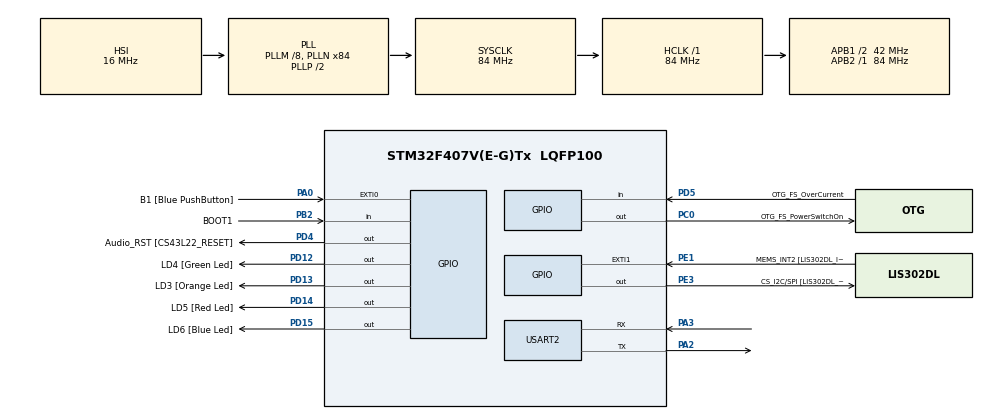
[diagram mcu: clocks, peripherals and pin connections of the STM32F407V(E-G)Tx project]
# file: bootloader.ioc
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Mcu.Family=STM32F4
PA11.GPIO_Speed=GPIO_SPEED_FREQ_LOW
PC3.GPIO_Mode=GPIO_MODE_AF_PP
PD12.GPIO_Label=LD4 [Green Led]
PH0-OSC_IN.Signal=RCC_OSC_IN
RCC.CortexFreq_Value=84000000
PC10.GPIO_PuPd=GPIO_NOPULL
PB10.GPIO_Speed=GPIO_SPEED_FREQ_LOW
PB6.GPIO_Mode=GPIO_MODE_AF_OD
PB10.GPIO_PuPd=GPIO_NOPULL
PA10.GPIO_PuPd=GPIO_NOPULL
PD15.GPIO_Speed=GPIO_SPEED_FREQ_LOW
PC10.Signal=I2S3_CK
PC12.Signal=I2S3_SD
PA14.GPIO_Label=SWCLK
PA7.GPIO_Mode=GPIO_MODE_AF_PP
PC0.GPIO_Label=OTG_FS_PowerSwitchOn
PA6.GPIO_Label=SPI1_MISO [LIS302DL_SDO]
PB6.GPIO_Label=Audio_SCL [CS43L22_SCL]
PC10.GPIO_Speed=GPIO_SPEED_FREQ_LOW
PA11.GPIO_PuPd=GPIO_NOPULL
PC15-OSC32_OUT.GPIO_Label=PC15-OSC32_OUT
PC3.GPIO_Speed=GPIO_SPEED_FREQ_LOW
RCC.SYSCLKSource=RCC_SYSCLKSOURCE_PLLCLK
ProjectManager.StackSize=0x400
PA6.GPIO_Mode=GPIO_MODE_AF_PP
PD13.Signal=GPIO_Output
PD14.GPIO_Speed=GPIO_SPEED_FREQ_LOW
PA12.Signal=USB_OTG_FS_DP
RCC.HCLKFreq_Value=84000000
PD4.Signal=GPIO_Output
RCC.APB2TimFreq_Value=84000000
PB6.Signal=I2C1_SCL
PC7.Signal=I2S3_MCK
PC3.Signal=I2S2_SD
PE1.Signal=GPXTI1
RCC.AHBFreq_Value=84000000
PH0-OSC_IN.GPIO_Label=PH0-OSC_IN
PA9.GPIO_Mode=GPIO_MODE_INPUT
RCC.HSE_VALUE=8000000
PA4.GPIO_PuPd=GPIO_NOPULL
PB2.Signal=GPIO_Input
PA4.GPIO_Speed=GPIO_SPEED_FREQ_LOW
PA6.GPIO_PuPd=GPIO_NOPULL
PA5.GPIO_PuPd=GPIO_NOPULL
PA10.GPIO_Label=OTG_FS_ID
PC7.GPIO_Mode=GPIO_MODE_AF_PP
PD5.GPIO_Mode=GPIO_MODE_INPUT
PD14.GPIO_PuPd=GPIO_NOPULL
PB2.GPIO_PuPd=GPIO_NOPULL
PD13.GPIO_Label=LD3 [Orange Led]
Mcu.Package=LQFP100
PB9.Signal=I2C1_SDA
PA6.Signal=SPI1_MISO
USART2.VirtualMode=VM_ASYNC
PD12.Signal=GPIO_Output
PD5.GPIO_Label=OTG_FS_OverCurrent
PD15.GPIO_PuPd=GPIO_NOPULL
PA10.Signal=USB_OTG_FS_ID
PB9.GPIO_PuPd=GPIO_NOPULL
PA10.GPIO_Speed=GPIO_SPEED_FREQ_LOW
PB9.GPIO_Speed=GPIO_SPEED_FREQ_LOW
RCC.APB1TimFreq_Value=84000000
PC14-OSC32_IN.GPIO_Label=PC14-OSC32_IN
PC12.GPIO_PuPd=GPIO_NOPULL
PA6.GPIO_Speed=GPIO_SPEED_FREQ_LOW
PC0.GPIO_PuPd=GPIO_NOPULL
PA12.GPIO_PuPd=GPIO_NOPULL
PA4.GPIO_Label=I2S3_WS [CS43L22_LRCK]
PD15.Signal=GPIO_Output
PC0.PinState=GPIO_PIN_SET
PA12.GPIO_Speed=GPIO_SPEED_FREQ_LOW
PA3.Signal=USART2_RX
PB3.GPIO_Label=SWO
PD12.GPIO_Speed=GPIO_SPEED_FREQ_LOW
PD15.GPIO_Label=LD6 [Blue Led]
PB9.GPIO_Label=Audio_SDA [CS43L22_SDA]
PC10.GPIO_Label=I2S3_SCK [CS43L22_SCLK]
PA9.GPIO_Label=VBUS_FS
PB6.GPIO_PuPd=GPIO_NOPULL
PA11.GPIO_Label=OTG_FS_DM
PE1.GPIO_PuPd=GPIO_NOPULL
PD5.Signal=GPIO_Input
PC0.Signal=GPIO_Output
PE1.GPIO_ModeDefaultEXTI=GPIO_MODE_EVT_RISING
RCC.APB1CLKDivider=RCC_HCLK_DIV2
PC14-OSC32_IN.Signal=RCC_OSC32_IN
PA9.GPIO_PuPd=GPIO_NOPULL
PA12.GPIO_Label=OTG_FS_DP
PA0-WKUP.GPIO_Label=B1 [Blue PushButton]
PA0-WKUP.Signal=GPXTI0
PA10.GPIO_Mode=GPIO_MODE_AF_PP
PA3.Mode=Asynchronous
PA13.Signal=SYS_JTMS-SWDIO
PC10.GPIO_Mode=GPIO_MODE_AF_PP
PD4.GPIO_PuPd=GPIO_NOPULL
PC0.GPIO_Speed=GPIO_SPEED_FREQ_LOW
PB10.GPIO_Mode=GPIO_MODE_AF_PP
ProjectManager.TargetToolchain=STM32CubeIDE
PB10.GPIO_Label=CLK_IN [MP45DT02_CLK]
PA9.Signal=USB_OTG_FS_VBUS
PC7.GPIO_PuPd=GPIO_NOPULL
RCC.LSE_VALUE=32768
PC15-OSC32_OUT.Signal=RCC_OSC32_OUT
PA7.GPIO_PuPd=GPIO_NOPULL
PB10.Signal=I2S2_CK
PA5.Signal=SPI1_SCK
board=STM32F407G-DISC1
PD13.GPIO_Speed=GPIO_SPEED_FREQ_LOW
PC7.GPIO_Speed=GPIO_SPEED_FREQ_LOW
RCC.VCOOutputFreq_Value=168000000
PE1.GPIO_Label=MEMS_INT2 [LIS302DL_INT2]
PA7.GPIO_Speed=GPIO_SPEED_FREQ_LOW
PB9.GPIO_Mode=GPIO_MODE_AF_OD
PA12.GPIO_Mode=GPIO_MODE_AF_PP
PA4.GPIO_Mode=GPIO_MODE_AF_PP
RCC.APB2Freq_Value=84000000
PB2.GPIO_Mode=GPIO_MODE_INPUT
PD4.GPIO_Label=Audio_RST [CS43L22_RESET]
PD4.GPIO_Speed=GPIO_SPEED_FREQ_LOW
PE3.GPIO_PuPd=GPIO_NOPULL
PH1-OSC_OUT.Signal=RCC_OSC_OUT
PD13.GPIO_PuPd=GPIO_NOPULL
PD5.GPIO_PuPd=GPIO_NOPULL
PD14.GPIO_Label=LD5 [Red Led]
PH1-OSC_OUT.GPIO_Label=PH1-OSC_OUT
Mcu.Name=STM32F407V(E-G)Tx
PA2.Signal=USART2_TX
PA13.GPIO_Label=SWDIO
PC7.GPIO_Label=I2S3_MCK [CS43L22_MCLK]
PD14.Signal=GPIO_Output
RCC.48MHZClocksFreq_Value=24000000
PB3.Signal=SYS_JTDO-SWO
PA4.Signal=I2S3_WS
RCC.SYSCLKFreq_VALUE=84000000
PC12.GPIO_Mode=GPIO_MODE_AF_PP
PA7.GPIO_Label=SPI1_MOSI [LIS302DL_SDA/SDI/SDO]
PA5.GPIO_Label=SPI1_SCK [LIS302DL_SCL/SPC]
PE3.GPIO_Speed=GPIO_SPEED_FREQ_LOW
PC12.GPIO_Label=I2S3_SD [CS43L22_SDIN]
PA11.Signal=USB_OTG_FS_DM
PA14.Signal=SYS_JTCK-SWCLK
PB2.GPIO_Label=BOOT1
ProjectManager.HeapSize=0x200
RCC.HSI_VALUE=16000000
PA5.GPIO_Speed=GPIO_SPEED_FREQ_LOW
RCC.PLLQ=7
NVIC.PriorityGroup=NVIC_PRIORITYGROUP_0
RCC.PLLM=8
RCC.PLLN=84
PE3.Signal=GPIO_Output
PA2.Mode=Asynchronous
PE3.GPIO_Label=CS_I2C/SPI [LIS302DL_CS_I2C/SPI]
PC3.GPIO_Label=PDM_OUT [MP45DT02_DOUT]
PA11.GPIO_Mode=GPIO_MODE_AF_PP
PB6.GPIO_Speed=GPIO_SPEED_FREQ_LOW
RCC.APB1Freq_Value=42000000
PA5.GPIO_Mode=GPIO_MODE_AF_PP
PC12.GPIO_Speed=GPIO_SPEED_FREQ_LOW
VP_CRC_VS_CRC.Mode=CRC_Activate
PC3.GPIO_PuPd=GPIO_NOPULL
PD12.GPIO_PuPd=GPIO_NOPULL
PA7.Signal=SPI1_MOSI

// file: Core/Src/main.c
/* USER CODE BEGIN Header */
/**
  ******************************************************************************
  * @file           : main.c
  * @brief          : Main program body
  ******************************************************************************
  * @attention
  *
  * <h2><center>&copy; Copyright (c) 2021 STMicroelectronics.
  * All rights reserved.</center></h2>
  *
  * This software component is licensed by ST under BSD 3-Clause license,
  * the "License"; You may not use this file except in compliance with the
  * License. You may obtain a copy of the License at:
  *                        opensource.org/licenses/BSD-3-Clause
  *
  ******************************************************************************
  */
/* USER CODE END Header */
#include "main.h"

/* USER CODE BEGIN PD */
#define BL_RX_LEN 200
/* USER CODE END PD */

CRC_HandleTypeDef hcrc;

UART_HandleTypeDef huart2;

/* USER CODE BEGIN PV */
uint8_t bl_rx_buffer[BL_RX_LEN];

uint8_t supported_commands[] = {
                               BL_GET_VER ,
                               BL_GET_HELP,
                               BL_GET_CID,
                               BL_GET_RDP_STATUS,
                               BL_GO_TO_ADDR,
                               BL_FLASH_ERASE,
                               BL_MEM_WRITE,
                               BL_READ_SECTOR_P_STATUS} ;

/* USER CODE END PV */

void SystemClock_Config(void);
static void MX_GPIO_Init(void);
static void MX_CRC_Init(void);
static void MX_USART2_UART_Init(void);
/* USER CODE BEGIN PFP */
void bootloader_uart_read_data(void);
void bootloader_jump_to_user_app(void);

/* USER CODE END PFP */

int main(void)
{

  /* MCU Configuration--------------------------------------------------------*/

  /* Reset of all peripherals, Initializes the Flash interface and the Systick. */
  HAL_Init();

  /* Configure the system clock */
  SystemClock_Config();

  /* Initialize all configured peripherals */
  MX_GPIO_Init();
  MX_CRC_Init();
  MX_USART2_UART_Init();
  /* USER CODE BEGIN 2 */

  /* Check if the user button is pressed */
 if(HAL_GPIO_ReadPin(GPIOA, GPIO_PIN_0) == GPIO_PIN_SET){
	/* Button is pressed */
    bootloader_uart_read_data();
  }
  else{
    bootloader_jump_to_user_app();
  }

  /* USER CODE END 2 */

  /* Infinite loop */
  while (1)
  {

  }
}

void SystemClock_Config(void)
{
  RCC_OscInitTypeDef RCC_OscInitStruct = {0};
  RCC_ClkInitTypeDef RCC_ClkInitStruct = {0};

  /** Configure the main internal regulator output voltage
  */
  __HAL_RCC_PWR_CLK_ENABLE();
  __HAL_PWR_VOLTAGESCALING_CONFIG(PWR_REGULATOR_VOLTAGE_SCALE1);
  /** Initializes the RCC Oscillators according to the specified parameters
  * in the RCC_OscInitTypeDef structure.
  */
  RCC_OscInitStruct.OscillatorType = RCC_OSCILLATORTYPE_HSI;
  RCC_OscInitStruct.HSIState = RCC_HSI_ON;
  RCC_OscInitStruct.HSICalibrationValue = RCC_HSICALIBRATION_DEFAULT;
  RCC_OscInitStruct.PLL.PLLState = RCC_PLL_ON;
  RCC_OscInitStruct.PLL.PLLSource = RCC_PLLSOURCE_HSI;
  RCC_OscInitStruct.PLL.PLLM = 8;
  RCC_OscInitStruct.PLL.PLLN = 84;
  RCC_OscInitStruct.PLL.PLLP = RCC_PLLP_DIV2;
  RCC_OscInitStruct.PLL.PLLQ = 7;
  if (HAL_RCC_OscConfig(&RCC_OscInitStruct) != HAL_OK)
  {
    Error_Handler();
  }
  /** Initializes the CPU, AHB and APB buses clocks
  */
  RCC_ClkInitStruct.ClockType = RCC_CLOCKTYPE_HCLK|RCC_CLOCKTYPE_SYSCLK
                              |RCC_CLOCKTYPE_PCLK1|RCC_CLOCKTYPE_PCLK2;
  RCC_ClkInitStruct.SYSCLKSource = RCC_SYSCLKSOURCE_PLLCLK;
  RCC_ClkInitStruct.AHBCLKDivider = RCC_SYSCLK_DIV1;
  RCC_ClkInitStruct.APB1CLKDivider = RCC_HCLK_DIV2;
  RCC_ClkInitStruct.APB2CLKDivider = RCC_HCLK_DIV1;

  if (HAL_RCC_ClockConfig(&RCC_ClkInitStruct, FLASH_LATENCY_2) != HAL_OK)
  {
    Error_Handler();
  }
}

static void MX_CRC_Init(void)
{

  hcrc.Instance = CRC;
  if (HAL_CRC_Init(&hcrc) != HAL_OK)
  {
    Error_Handler();
  }

}

static void MX_USART2_UART_Init(void)
{

  huart2.Instance = USART2;
  huart2.Init.BaudRate = 115200;
  huart2.Init.WordLength = UART_WORDLENGTH_8B;
  huart2.Init.StopBits = UART_STOPBITS_1;
  huart2.Init.Parity = UART_PARITY_NONE;
  huart2.Init.Mode = UART_MODE_TX_RX;
  huart2.Init.HwFlowCtl = UART_HWCONTROL_NONE;
  huart2.Init.OverSampling = UART_OVERSAMPLING_16;
  if (HAL_UART_Init(&huart2) != HAL_OK)
  {
    Error_Handler();
  }

}

static void MX_GPIO_Init(void)
{
  GPIO_InitTypeDef GPIO_InitStruct = {0};

  /* GPIO Ports Clock Enable */
  __HAL_RCC_GPIOE_CLK_ENABLE();
  __HAL_RCC_GPIOC_CLK_ENABLE();
  __HAL_RCC_GPIOH_CLK_ENABLE();
  __HAL_RCC_GPIOA_CLK_ENABLE();
  __HAL_RCC_GPIOB_CLK_ENABLE();
  __HAL_RCC_GPIOD_CLK_ENABLE();

  /*Configure GPIO pin Output Level */
  HAL_GPIO_WritePin(CS_I2C_SPI_GPIO_Port, CS_I2C_SPI_Pin, GPIO_PIN_RESET);

  /*Configure GPIO pin Output Level */
  HAL_GPIO_WritePin(OTG_FS_PowerSwitchOn_GPIO_Port, OTG_FS_PowerSwitchOn_Pin, GPIO_PIN_SET);

  /*Configure GPIO pin Output Level */
  HAL_GPIO_WritePin(GPIOD, LD4_Pin|LD3_Pin|LD5_Pin|LD6_Pin
                          |Audio_RST_Pin, GPIO_PIN_RESET);

  /*Configure GPIO pin : CS_I2C_SPI_Pin */
  GPIO_InitStruct.Pin = CS_I2C_SPI_Pin;
  GPIO_InitStruct.Mode = GPIO_MODE_OUTPUT_PP;
  GPIO_InitStruct.Pull = GPIO_NOPULL;
  GPIO_InitStruct.Speed = GPIO_SPEED_FREQ_LOW;
  HAL_GPIO_Init(CS_I2C_SPI_GPIO_Port, &GPIO_InitStruct);

  /*Configure GPIO pin : OTG_FS_PowerSwitchOn_Pin */
  GPIO_InitStruct.Pin = OTG_FS_PowerSwitchOn_Pin;
  GPIO_InitStruct.Mode = GPIO_MODE_OUTPUT_PP;
  GPIO_InitStruct.Pull = GPIO_NOPULL;
  GPIO_InitStruct.Speed = GPIO_SPEED_FREQ_LOW;
  HAL_GPIO_Init(OTG_FS_PowerSwitchOn_GPIO_Port, &GPIO_InitStruct);

  /*Configure GPIO pin : PDM_OUT_Pin */
  GPIO_InitStruct.Pin = PDM_OUT_Pin;
  GPIO_InitStruct.Mode = GPIO_MODE_AF_PP;
  GPIO_InitStruct.Pull = GPIO_NOPULL;
  GPIO_InitStruct.Speed = GPIO_SPEED_FREQ_LOW;
  GPIO_InitStruct.Alternate = GPIO_AF5_SPI2;
  HAL_GPIO_Init(PDM_OUT_GPIO_Port, &GPIO_InitStruct);

  /*Configure GPIO pin : B1_Pin */
  GPIO_InitStruct.Pin = B1_Pin;
  GPIO_InitStruct.Mode = GPIO_MODE_IT_RISING;
  GPIO_InitStruct.Pull = GPIO_NOPULL;
  HAL_GPIO_Init(B1_GPIO_Port, &GPIO_InitStruct);

  /*Configure GPIO pin : I2S3_WS_Pin */
  GPIO_InitStruct.Pin = I2S3_WS_Pin;
  GPIO_InitStruct.Mode = GPIO_MODE_AF_PP;
  GPIO_InitStruct.Pull = GPIO_NOPULL;
  GPIO_InitStruct.Speed = GPIO_SPEED_FREQ_LOW;
  GPIO_InitStruct.Alternate = GPIO_AF6_SPI3;
  HAL_GPIO_Init(I2S3_WS_GPIO_Port, &GPIO_InitStruct);

  /*Configure GPIO pins : SPI1_SCK_Pin SPI1_MISO_Pin SPI1_MOSI_Pin */
  GPIO_InitStruct.Pin = SPI1_SCK_Pin|SPI1_MISO_Pin|SPI1_MOSI_Pin;
  GPIO_InitStruct.Mode = GPIO_MODE_AF_PP;
  GPIO_InitStruct.Pull = GPIO_NOPULL;
  GPIO_InitStruct.Speed = GPIO_SPEED_FREQ_LOW;
  GPIO_InitStruct.Alternate = GPIO_AF5_SPI1;
  HAL_GPIO_Init(GPIOA, &GPIO_InitStruct);

  /*Configure GPIO pin : BOOT1_Pin */
  GPIO_InitStruct.Pin = BOOT1_Pin;
  GPIO_InitStruct.Mode = GPIO_MODE_INPUT;
  GPIO_InitStruct.Pull = GPIO_NOPULL;
  HAL_GPIO_Init(BOOT1_GPIO_Port, &GPIO_InitStruct);

  /*Configure GPIO pin : CLK_IN_Pin */
  GPIO_InitStruct.Pin = CLK_IN_Pin;
  GPIO_InitStruct.Mode = GPIO_MODE_AF_PP;
  GPIO_InitStruct.Pull = GPIO_NOPULL;
  GPIO_InitStruct.Speed = GPIO_SPEED_FREQ_LOW;
  GPIO_InitStruct.Alternate = GPIO_AF5_SPI2;
  HAL_GPIO_Init(CLK_IN_GPIO_Port, &GPIO_InitStruct);

  /*Configure GPIO pins : LD4_Pin LD3_Pin LD5_Pin LD6_Pin
                           Audio_RST_Pin */
  GPIO_InitStruct.Pin = LD4_Pin|LD3_Pin|LD5_Pin|LD6_Pin
                          |Audio_RST_Pin;
  GPIO_InitStruct.Mode = GPIO_MODE_OUTPUT_PP;
  GPIO_InitStruct.Pull = GPIO_NOPULL;
  GPIO_InitStruct.Speed = GPIO_SPEED_FREQ_LOW;
  HAL_GPIO_Init(GPIOD, &GPIO_InitStruct);

  /*Configure GPIO pins : I2S3_MCK_Pin I2S3_SCK_Pin I2S3_SD_Pin */
  GPIO_InitStruct.Pin = I2S3_MCK_Pin|I2S3_SCK_Pin|I2S3_SD_Pin;
  GPIO_InitStruct.Mode = GPIO_MODE_AF_PP;
  GPIO_InitStruct.Pull = GPIO_NOPULL;
  GPIO_InitStruct.Speed = GPIO_SPEED_FREQ_LOW;
  GPIO_InitStruct.Alternate = GPIO_AF6_SPI3;
  HAL_GPIO_Init(GPIOC, &GPIO_InitStruct);

  /*Configure GPIO pin : VBUS_FS_Pin */
  GPIO_InitStruct.Pin = VBUS_FS_Pin;
  GPIO_InitStruct.Mode = GPIO_MODE_INPUT;
  GPIO_InitStruct.Pull = GPIO_NOPULL;
  HAL_GPIO_Init(VBUS_FS_GPIO_Port, &GPIO_InitStruct);

  /*Configure GPIO pins : OTG_FS_ID_Pin OTG_FS_DM_Pin OTG_FS_DP_Pin */
  GPIO_InitStruct.Pin = OTG_FS_ID_Pin|OTG_FS_DM_Pin|OTG_FS_DP_Pin;
  GPIO_InitStruct.Mode = GPIO_MODE_AF_PP;
  GPIO_InitStruct.Pull = GPIO_NOPULL;
  GPIO_InitStruct.Speed = GPIO_SPEED_FREQ_LOW;
  GPIO_InitStruct.Alternate = GPIO_AF10_OTG_FS;
  HAL_GPIO_Init(GPIOA, &GPIO_InitStruct);

  /*Configure GPIO pin : OTG_FS_OverCurrent_Pin */
  GPIO_InitStruct.Pin = OTG_FS_OverCurrent_Pin;
  GPIO_InitStruct.Mode = GPIO_MODE_INPUT;
  GPIO_InitStruct.Pull = GPIO_NOPULL;
  HAL_GPIO_Init(OTG_FS_OverCurrent_GPIO_Port, &GPIO_InitStruct);

  /*Configure GPIO pins : Audio_SCL_Pin Audio_SDA_Pin */
  GPIO_InitStruct.Pin = Audio_SCL_Pin|Audio_SDA_Pin;
  GPIO_InitStruct.Mode = GPIO_MODE_AF_OD;
  GPIO_InitStruct.Pull = GPIO_PULLUP;
  GPIO_InitStruct.Speed = GPIO_SPEED_FREQ_LOW;
  GPIO_InitStruct.Alternate = GPIO_AF4_I2C1;
  HAL_GPIO_Init(GPIOB, &GPIO_InitStruct);

  /*Configure GPIO pin : MEMS_INT2_Pin */
  GPIO_InitStruct.Pin = MEMS_INT2_Pin;
  GPIO_InitStruct.Mode = GPIO_MODE_EVT_RISING;
  GPIO_InitStruct.Pull = GPIO_NOPULL;
  HAL_GPIO_Init(MEMS_INT2_GPIO_Port, &GPIO_InitStruct);

}

/* USER CODE BEGIN 4 */

void bootloader_uart_read_data(void){

	uint8_t rcv_len = 0;

	while(1){
		memset(bl_rx_buffer, 0, 200);
		/*
		 * Here we will read and decode the commands coming from host
		 * first read only one byte from the host, which is the "length" field of the command packet
		 */
		HAL_UART_Receive(&huart2, bl_rx_buffer, 1, HAL_MAX_DELAY);
		rcv_len = bl_rx_buffer[0];
		HAL_UART_Receive(&huart2, &bl_rx_buffer[1], rcv_len, HAL_MAX_DELAY);

		switch (bl_rx_buffer[1]){
			case BL_GET_VER:
				bootloader_handle_getver_cmd(bl_rx_buffer);
				break;
			case BL_GET_HELP:
				bootloader_handle_gethelp_cmd(bl_rx_buffer);
				break;
			case BL_GET_CID:
				bootloader_handle_getcid_cmd(bl_rx_buffer);
				break;
			case BL_GET_RDP_STATUS:
				bootloader_handle_getrdp_cmd(bl_rx_buffer);
				break;
			case BL_GO_TO_ADDR:
				bootloader_handle_go_cmd(bl_rx_buffer);
				break;
			case BL_FLASH_ERASE:
				bootloader_handle_flash_erase_cmd(bl_rx_buffer);
				break;
			case BL_MEM_WRITE:
				bootloader_handle_mem_write_cmd(bl_rx_buffer);
				break;
			case BL_EN_RW_PROTECT:
				bootloader_handle_en_rw_protect(bl_rx_buffer);
				break;
			case BL_MEM_READ:
				bootloader_handle_mem_read(bl_rx_buffer);
				break;
			case BL_READ_SECTOR_P_STATUS:
				bootloader_handle_read_sector_protection_status(bl_rx_buffer);
				break;
			case BL_OTP_READ:
				bootloader_handle_read_otp(bl_rx_buffer);
				break;
			case BL_DIS_R_W_PROTECT:
				bootloader_handle_dis_rw_protect(bl_rx_buffer);
				break;
			default:
				break;
		}
	}

}

void bootloader_jump_to_user_app(void){

	// Just a function pointer to hold the address of the reset handler of the user app.
	void (*app_reset_handler) (void);

	// 1. Configure the MSP by reading the value from the base address of the sector 2
	uint32_t msp_value = *(volatile uint32_t *)FLASH_SECTOR2_BASE_ADDRESS;

	// This function comes from CMSIS
	__set_MSP(msp_value);

	// SCB->VTOR = FLASH_SECTOR1_BASE_ADDRESS;
	/* 2. Now fetch the reset handler address of the user application
	 * from the location FLASH_SECTOR2_BASE_ADDRESS+4
	 */
	uint32_t resethandler_address = *(volatile uint32_t *) (FLASH_SECTOR2_BASE_ADDRESS + 4);
	app_reset_handler = (void *)resethandler_address;

	// 3. Jump to reset handler of the application
	app_reset_handler();

}

/**************Implementation of Boot-loader Command Handle functions *********/

/*Helper function to handle BL_GET_VER command */
void bootloader_handle_getver_cmd(uint8_t *bl_rx_buffer){
    uint8_t bl_version;

    // 1) verify the checksum

	 //Total length of the command packet
	  uint32_t command_packet_len = bl_rx_buffer[0]+1 ;

	  //extract the CRC32 sent by the Host
	  uint32_t host_crc = *((uint32_t * ) (bl_rx_buffer+command_packet_len - 4) ) ;

    if (! bootloader_verify_crc(&bl_rx_buffer[0],command_packet_len-4,host_crc))
    {
        // checksum is correct..
        bootloader_send_ack(bl_rx_buffer[0],1);
        bl_version=get_bootloader_version();
        bootloader_uart_write_data(&bl_version,1);

    }else
    {
        //checksum is wrong send nack
        bootloader_send_nack();
    }
}

/*Helper function to handle BL_GET_HELP command
 * Bootloader sends out All supported Command codes
 */
void bootloader_handle_gethelp_cmd(uint8_t *pBuffer)
{

	//Total length of the command packet
	uint32_t command_packet_len = bl_rx_buffer[0]+1 ;

	//extract the CRC32 sent by the Host
	uint32_t host_crc = *((uint32_t * ) (bl_rx_buffer+command_packet_len - 4) ) ;

	if (! bootloader_verify_crc(&bl_rx_buffer[0],command_packet_len-4,host_crc))
	{
        bootloader_send_ack(pBuffer[0],sizeof(supported_commands));
        bootloader_uart_write_data(supported_commands,sizeof(supported_commands) );

	}else
	{
        bootloader_send_nack();
	}

}

/*Helper function to handle BL_GET_CID command */
void bootloader_handle_getcid_cmd(uint8_t *pBuffer)
{
	uint16_t bl_cid_num = 0;

    //Total length of the command packet
	uint32_t command_packet_len = bl_rx_buffer[0]+1 ;

	//extract the CRC32 sent by the Host
	uint32_t host_crc = *((uint32_t * ) (bl_rx_buffer+command_packet_len - 4) ) ;

	if (! bootloader_verify_crc(&bl_rx_buffer[0],command_packet_len-4,host_crc))
	{
        bootloader_send_ack(pBuffer[0],2);
        bl_cid_num = get_mcu_chip_id();
        bootloader_uart_write_data((uint8_t *)&bl_cid_num,2);

	}else
	{
        bootloader_send_nack();
	}

}

/*Helper function to handle BL_GET_RDP_STATUS command */
void bootloader_handle_getrdp_cmd(uint8_t *pBuffer)
{
    uint8_t rdp_level = 0x00;

    //Total length of the command packet
	uint32_t command_packet_len = bl_rx_buffer[0]+1 ;

	//extract the CRC32 sent by the Host
	uint32_t host_crc = *((uint32_t * ) (bl_rx_buffer+command_packet_len - 4) ) ;

	if (! bootloader_verify_crc(&bl_rx_buffer[0],command_packet_len-4,host_crc))
	{
        bootloader_send_ack(pBuffer[0],1);
        rdp_level = get_flash_rdp_level();
        bootloader_uart_write_data(&rdp_level,1);

	}else
	{
        bootloader_send_nack();
	}

}

/*Helper function to handle BL_GO_TO_ADDR command */
void bootloader_handle_go_cmd(uint8_t *pBuffer)
{
    uint32_t go_address=0;
    uint8_t addr_valid = ADDR_VALID;
    uint8_t addr_invalid = ADDR_INVALID;

    //Total length of the command packet
	uint32_t command_packet_len = bl_rx_buffer[0]+1 ;

	//extract the CRC32 sent by the Host
	uint32_t host_crc = *((uint32_t * ) (bl_rx_buffer+command_packet_len - 4) ) ;

	if (! bootloader_verify_crc(&bl_rx_buffer[0],command_packet_len-4,host_crc))
	{

        bootloader_send_ack(pBuffer[0],1);

        //extract the go address
        go_address = *((uint32_t *)&pBuffer[2] );

        if( verify_address(go_address) == ADDR_VALID )
        {
            //tell host that address is fine
            bootloader_uart_write_data(&addr_valid,1);

            /*jump to "go" address.
            we dont care what is being done there.
            host must ensure that valid code is present over there
            Its not the duty of bootloader. so just trust and jump */

            /* Not doing the below line will result in hardfault exception for ARM cortex M */
            //watch : https://www.youtube.com/watch?v=VX_12SjnNhY

            go_address+=1; //make T bit =1

            void (*lets_jump)(void) = (void *)go_address;

            lets_jump();

		}else
		{
            //tell host that address is invalid
            bootloader_uart_write_data(&addr_invalid,1);
		}

	}else
	{
        bootloader_send_nack();
	}

}

/*Helper function to handle BL_FLASH_ERASE command */
void bootloader_handle_flash_erase_cmd(uint8_t *pBuffer)
{
    uint8_t erase_status = 0x00;

    //Total length of the command packet
	uint32_t command_packet_len = bl_rx_buffer[0]+1 ;

	//extract the CRC32 sent by the Host
	uint32_t host_crc = *((uint32_t * ) (bl_rx_buffer+command_packet_len - 4) ) ;

	if (! bootloader_verify_crc(&bl_rx_buffer[0],command_packet_len-4,host_crc))
	{
        bootloader_send_ack(pBuffer[0],1);

        erase_status = execute_flash_erase(pBuffer[2] , pBuffer[3]);

        bootloader_uart_write_data(&erase_status,1);

	}else
	{
        bootloader_send_nack();
	}
}

/*Helper function to handle BL_MEM_WRITE command */
void bootloader_handle_mem_write_cmd(uint8_t *pBuffer)
{
	uint8_t write_status = 0x00;
	uint8_t payload_len = pBuffer[6];

	uint32_t mem_address = *((uint32_t *) ( &pBuffer[2]) );

    //Total length of the command packet
	uint32_t command_packet_len = bl_rx_buffer[0]+1 ;

	//extract the CRC32 sent by the Host
	uint32_t host_crc = *((uint32_t * ) (bl_rx_buffer+command_packet_len - 4) ) ;

	if (! bootloader_verify_crc(&bl_rx_buffer[0],command_packet_len-4,host_crc))
	{

        bootloader_send_ack(pBuffer[0],1);

		if( verify_address(mem_address) == ADDR_VALID )
		{

            //execute mem write
            write_status = execute_mem_write(&pBuffer[7],mem_address, payload_len);

            //inform host about the status
            bootloader_uart_write_data(&write_status,1);

		}else
		{
            write_status = ADDR_INVALID;
            //inform host that address is invalid
            bootloader_uart_write_data(&write_status,1);
		}

	}else
	{
        bootloader_send_nack();
	}

}

void bootloader_handle_en_rw_protect(uint8_t *pBuffer){

}

void bootloader_handle_mem_read (uint8_t *pBuffer){

}

void bootloader_handle_read_sector_protection_status(uint8_t *pBuffer){

}

void bootloader_handle_read_otp(uint8_t *pBuffer){

}

void bootloader_handle_dis_rw_protect(uint8_t *pBuffer){

}

/*This function sends ACK if CRC matches along with "len to follow"*/
void bootloader_send_ack(uint8_t command_code, uint8_t follow_len)
{
	 //here we send 2 byte.. first byte is ack and the second byte is len value
	uint8_t ack_buf[2];
	ack_buf[0] = BL_ACK;
	ack_buf[1] = follow_len;
	HAL_UART_Transmit(&huart2, ack_buf,2,HAL_MAX_DELAY);

}

/*This function sends NACK */
void bootloader_send_nack(void)
{
	uint8_t nack = BL_NACK;
	HAL_UART_Transmit(&huart2, &nack,1,HAL_MAX_DELAY);
}

//This verifies the CRC of the given buffer in pData .
uint8_t bootloader_verify_crc (uint8_t *pData, uint32_t len, uint32_t crc_host)
{
    uint32_t uwCRCValue=0xff;

	 /* Reset CRC Calculation Unit */
   __HAL_CRC_DR_RESET(&hcrc);

    for (uint32_t i=0 ; i < len ; i++)
	{
        uint32_t i_data = pData[i];
        uwCRCValue = HAL_CRC_Accumulate(&hcrc, &i_data, 1);
	}

	if( uwCRCValue == crc_host)
	{
		return VERIFY_CRC_SUCCESS;
	}

	return VERIFY_CRC_FAIL;
}

uint8_t get_bootloader_version(void){
	return (uint8_t)BL_VERSION;
}

void bootloader_uart_write_data(uint8_t *pBuffer, uint32_t len){
	/* You can replace the bellow ST's USART driver API call with your MCUs drivers */
	HAL_UART_Transmit(&huart2, pBuffer, len, HAL_MAX_DELAY);
}

//Read the chip identifier or device Identifier
uint16_t get_mcu_chip_id(void)
{
/*
	The STM32F446xx MCUs integrate an MCU ID code. This ID identifies the ST MCU partnumber
	and the die revision. It is part of the DBG_MCU component and is mapped on the
	external PPB bus (see Section 33.16 on page 1304). This code is accessible using the
	JTAG debug pCat.2ort (4 to 5 pins) or the SW debug port (two pins) or by the user software.
	It is even accessible while the MCU is under system reset. */
	uint16_t cid;
	cid = (uint16_t)(DBGMCU->IDCODE) & 0x0FFF;
	return  cid;

}

/*This function reads the RDP ( Read protection option byte) value
 *For more info refer "Table 9. Description of the option bytes" in stm32f446xx RM
 */
uint8_t get_flash_rdp_level(void)
{

	uint8_t rdp_status=0;
#if 0
	FLASH_OBProgramInitTypeDef  ob_handle;
	HAL_FLASHEx_OBGetConfig(&ob_handle);
	rdp_status = (uint8_t)ob_handle.RDPLevel;
#else

	 volatile uint32_t *pOB_addr = (uint32_t*) 0x1FFFC000;
	 rdp_status =  (uint8_t)(*pOB_addr >> 8) ;
#endif

	return rdp_status;

}

//verify the address sent by the host .
uint8_t verify_address(uint32_t go_address)
{
	//so, what are the valid addresses to which we can jump ?
	//can we jump to system memory ? yes
	//can we jump to sram1 memory ?  yes
	//can we jump to sram2 memory ? yes
	//can we jump to backup sram memory ? yes
	//can we jump to peripheral memory ? its possible , but dont allow. so no
	//can we jump to external memory ? yes.

//incomplete -poorly written .. optimize it
	if ( go_address >= SRAM1_BASE && go_address <= SRAM1_END)
	{
		return ADDR_VALID;
	}
	else if ( go_address >= SRAM2_BASE && go_address <= SRAM2_END)
	{
		return ADDR_VALID;
	}
	else if ( go_address >= FLASH_BASE && go_address <= FLASH_END)
	{
		return ADDR_VALID;
	}
	else if ( go_address >= BKPSRAM_BASE && go_address <= BKPSRAM_END)
	{
		return ADDR_VALID;
	}
	else
		return ADDR_INVALID;
}

uint8_t execute_flash_erase(uint8_t sector_number , uint8_t number_of_sector)
{
   //we have totally 8 sectors in STM32F446RE mcu .. sector[0 to 7]
	//number_of_sector has to be in the range of 0 to 7
	// if sector_number = 0xff , that means mass erase !
	//Code needs to modified if your MCU supports more flash sectors
	FLASH_EraseInitTypeDef flashErase_handle;
	uint32_t sectorError;
	HAL_StatusTypeDef status;

	if( number_of_sector > 8 )
		return INVALID_SECTOR;

	if( (sector_number == 0xff ) || (sector_number <= 7) )
	{
		if(sector_number == (uint8_t) 0xff)
		{
			flashErase_handle.TypeErase = FLASH_TYPEERASE_MASSERASE;
		}else
		{
		    /*Here we are just calculating how many sectors needs to erased */
			uint8_t remanining_sector = 8 - sector_number;
           if( number_of_sector > remanining_sector)
           {
           	number_of_sector = remanining_sector;
           }
			flashErase_handle.TypeErase = FLASH_TYPEERASE_SECTORS;
			flashErase_handle.Sector = sector_number; // this is the initial sector
			flashErase_handle.NbSectors = number_of_sector;
		}
		flashErase_handle.Banks = FLASH_BANK_1;

		/*Get access to touch the flash registers */
		HAL_FLASH_Unlock();
		flashErase_handle.VoltageRange = FLASH_VOLTAGE_RANGE_3;  // our mcu will work on this voltage range
		status = (uint8_t) HAL_FLASHEx_Erase(&flashErase_handle, &sectorError);
		HAL_FLASH_Lock();

		return status;
	}

	return INVALID_SECTOR;
}

/*This function writes the contents of pBuffer to  "mem_address" byte by byte */
//Note1 : Currently this function supports writing to Flash only .
//Note2 : This functions does not check whether "mem_address" is a valid address of the flash range.
uint8_t execute_mem_write(uint8_t *pBuffer, uint32_t mem_address, uint32_t len)
{
    uint8_t status=HAL_OK;

    //We have to unlock flash module to get control of registers
    HAL_FLASH_Unlock();

    for(uint32_t i = 0 ; i <len ; i++)
    {
        //Here we program the flash byte by byte
        status = HAL_FLASH_Program(FLASH_TYPEPROGRAM_BYTE,mem_address+i,pBuffer[i] );
    }

    HAL_FLASH_Lock();

    return status;
}

/* USER CODE END 4 */

void Error_Handler(void)
{
  __disable_irq();
  while (1)
  {
  }
}

/************************ (C) COPYRIGHT STMicroelectronics *****END OF FILE****/
